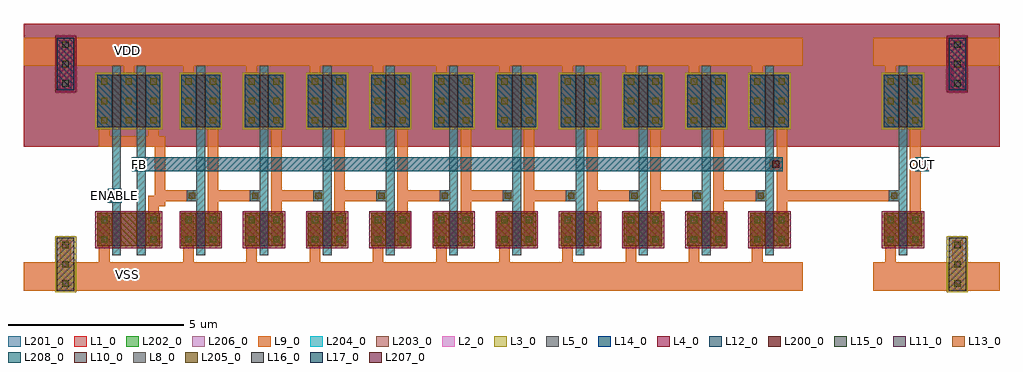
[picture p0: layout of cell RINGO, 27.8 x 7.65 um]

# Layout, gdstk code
import gdstk
lib = gdstk.Library(unit=1e-6, precision=1e-09)
def R(c, l, rs):  # rectangles x0, y0, x1, y1
    for r in rs: c.add(gdstk.rectangle(r[:2], r[2:], *l))
def A(c, l, x, y, w, h, nx, ny, dx, dy):  # array of equal rectangles
    R(c, l, [(x+i*dx, y+j*dy, x+i*dx+w, y+j*dy+h) for i in range(nx) for j in range(ny)])
def P(c, l, *ps):  # polygons
    for p in ps: c.add(gdstk.Polygon(p, *l))
L1_0 = (1, 0)
L2_0 = (2, 0)
L3_0 = (3, 0)
L4_0 = (4, 0)
L5_0 = (5, 0)
L8_0 = (8, 0)
L9_0 = (9, 0)
L10_0 = (10, 0)
L11_0 = (11, 0)
L12_0 = (12, 0)
L13_0 = (13, 0)
L14_0 = (14, 0)
L15_0 = (15, 0)
L16_0 = (16, 0)
L17_0 = (17, 0)
L200_0 = (200, 0)
L201_0 = (201, 0)
L202_0 = (202, 0)
L203_0 = (203, 0)
L204_0 = (204, 0)
L205_0 = (205, 0)
L206_0 = (206, 0)
L207_0 = (207, 0)
L208_0 = (208, 0)

d_pmos = lib.new_cell('D$PMOS')
R(d_pmos, L201_0, [(-0.125,-0.75,0.125,0.75)])
R(d_pmos, L202_0, [(-0.55,-0.75,-0.125,0.75), (0.125,-0.75,0.575,0.75)])
R(d_pmos, L204_0, [(-0.125,-0.75,0.125,0.75)])

d_pmos_1 = lib.new_cell('D$PMOS$1')
R(d_pmos_1, L201_0, [(-0.125,-0.75,0.125,0.75)])
R(d_pmos_1, L202_0, [(-0.575,-0.75,-0.125,0.75), (0.125,-0.75,0.55,0.75)])
R(d_pmos_1, L204_0, [(-0.125,-0.75,0.125,0.75)])

net_nd2x1_nwell = lib.new_cell('NET_ND2X1_NWELL')
R(net_nd2x1_nwell, L201_0, [(-0.1,4.5,2.5,8), (0.999,5.999,1.001,6.001)])
net_nd2x1_nwell.add(gdstk.Reference(d_pmos, (0.85,5.8)))
net_nd2x1_nwell.add(gdstk.Reference(d_pmos_1, (1.55,5.8)))

d_nmos_1 = lib.new_cell('D$NMOS$1')
R(d_nmos_1, L200_0, [(-0.125,-0.475,0.125,0.475)])
R(d_nmos_1, L203_0, [(-0.575,-0.475,-0.125,0.475), (0.125,-0.475,0.55,0.475)])
R(d_nmos_1, L204_0, [(-0.125,-0.475,0.125,0.475)])

net_nd2x1__2 = lib.new_cell('NET_ND2X1_$2')
R(net_nd2x1__2, L204_0, [(1.425,1.41,1.675,2.86), (1.425,2.86,1.675,4.8), (1.33,3.85,1.63,4.15), (1.425,4.8,1.675,6.8), (1.425,4.8,1.675,6.8)])
net_nd2x1__2.add(gdstk.Reference(d_pmos_1, (1.55,5.8)))
net_nd2x1__2.add(gdstk.Reference(d_nmos_1, (1.55,2.135)))

net_nd2x1_b = lib.new_cell('NET_ND2X1_B')
R(net_nd2x1_b, L205_0, [(1.39,3.91,1.57,4.09)])
R(net_nd2x1_b, L206_0, [(1.33,3.85,1.63,4.15), (1.499,3.999,1.501,4.001)])

d_nmos = lib.new_cell('D$NMOS')
R(d_nmos, L200_0, [(-0.125,-0.475,0.125,0.475)])
R(d_nmos, L203_0, [(-0.55,-0.475,-0.125,0.475), (0.125,-0.475,0.575,0.475)])
R(d_nmos, L204_0, [(-0.125,-0.475,0.125,0.475)])

net_nd2x1__4 = lib.new_cell('NET_ND2X1_$4')
R(net_nd2x1__4, L204_0, [(0.725,1.41,0.975,2.86), (0.725,2.86,0.975,4.8), (0.65,2.95,0.95,3.25), (0.725,4.8,0.975,6.8), (0.725,4.8,0.975,6.8)])
net_nd2x1__4.add(gdstk.Reference(d_pmos, (0.85,5.8)))
net_nd2x1__4.add(gdstk.Reference(d_nmos, (0.85,2.135)))

net_nd2x1_a = lib.new_cell('NET_ND2X1_A')
R(net_nd2x1_a, L205_0, [(0.71,3.01,0.89,3.19)])
R(net_nd2x1_a, L206_0, [(0.65,2.95,0.95,3.25), (0.799,3.099,0.801,3.101)])

net_nd2x1__6 = lib.new_cell('NET_ND2X1_$6')
R(net_nd2x1__6, L202_0, [(1.675,5.05,2.1,6.55)])
net_nd2x1__6.add(gdstk.Reference(d_pmos_1, (1.55,5.8)))

net_nd2x1__7 = lib.new_cell('NET_ND2X1_$7')
R(net_nd2x1__7, L202_0, [(0.3,5.05,0.725,6.55)])
net_nd2x1__7.add(gdstk.Reference(d_pmos, (0.85,5.8)))

net_nd2x1_vdd = lib.new_cell('NET_ND2X1_VDD')
A(net_nd2x1_vdd, L205_0, 1.11, 5.16, 0.18, 0.18, 1, 3, 0, 0.55)
R(net_nd2x1_vdd, L206_0, [(1.05,5.1,1.35,6.8), (0,6.8,2.4,7.6), (1.249,7.199,1.251,7.201)])

net_nd2x1__9 = lib.new_cell('NET_ND2X1_$9')
R(net_nd2x1__9, L202_0, [(0.975,5.05,1.425,6.55)])
net_nd2x1__9.add(gdstk.Reference(d_pmos, (0.85,5.8)))
net_nd2x1__9.add(gdstk.Reference(d_pmos_1, (1.55,5.8)))

net_nd2x1_out = lib.new_cell('NET_ND2X1_OUT')
A(net_nd2x1_out, L205_0, 0.41, 5.16, 0.18, 0.18, 1, 3, 0, 0.55)
A(net_nd2x1_out, L205_0, 1.81, 5.16, 0.18, 0.18, 1, 3, 0, 0.55)
R(net_nd2x1_out, L205_0, [(1.81,1.77,1.99,1.95), (1.81,2.32,1.99,2.5)])
R(net_nd2x1_out, L206_0, [(1.94,3.1,2.24,4.5), (2.099,3.999,2.101,4.001), (1.75,4.8,2.05,5.1), (0.35,5.1,0.65,6.5), (1.75,5.1,2.05,6.5)])
P(net_nd2x1_out, L206_0, [(1.75,1.71),(1.75,3.1),(2.24,3.1),(2.24,2.8),(2.05,2.8),(2.05,1.71)],
  [(0.35,4.5),(0.35,5.1),(0.65,5.1),(0.65,4.8),(2.24,4.8),(2.24,4.5)])

net_nd2x1__11 = lib.new_cell('NET_ND2X1_$11')
R(net_nd2x1__11, L203_0, [(1.675,1.66,2.1,2.61)])
net_nd2x1__11.add(gdstk.Reference(d_nmos_1, (1.55,2.135)))

net_nd2x1_vss = lib.new_cell('NET_ND2X1_VSS')
R(net_nd2x1_vss, L205_0, [(0.41,1.77,0.59,1.95), (0.41,2.32,0.59,2.5)])
R(net_nd2x1_vss, L206_0, [(0,0.4,2.4,1.2), (1.249,0.799,1.251,0.801), (0.35,1.2,0.65,2.56)])

net_nd2x1__13 = lib.new_cell('NET_ND2X1_$13')
R(net_nd2x1__13, L203_0, [(0.3,1.66,0.725,2.61)])
net_nd2x1__13.add(gdstk.Reference(d_nmos, (0.85,2.135)))

net_nd2x1__14 = lib.new_cell('NET_ND2X1_$14')
R(net_nd2x1__14, L203_0, [(0.975,1.66,1.425,2.61)])
net_nd2x1__14.add(gdstk.Reference(d_nmos, (0.85,2.135)))
net_nd2x1__14.add(gdstk.Reference(d_nmos_1, (1.55,2.135)))

net_nd2x1_bulk = lib.new_cell('NET_ND2X1_BULK')
net_nd2x1_bulk.add(gdstk.Reference(d_nmos, (0.85,2.135)))
net_nd2x1_bulk.add(gdstk.Reference(d_nmos_1, (1.55,2.135)))

nd2x1 = lib.new_cell('ND2X1')
R(nd2x1, L1_0, [(-0.1,4.5,2.5,8)])
R(nd2x1, L2_0, [(0.3,1.66,1.4,2.61), (1,1.66,2.1,2.61), (0.3,5.05,1.4,6.55), (0.3,5.05,1.4,6.55), (1,5.05,2.1,6.55), (1,5.05,2.1,6.55)])
R(nd2x1, L3_0, [(0.25,5,1.45,6.6), (0.95,5,2.15,6.6)])
R(nd2x1, L4_0, [(0.25,1.61,1.45,2.66), (0.95,1.61,2.15,2.66)])
R(nd2x1, L5_0, [(0.725,1.41,0.975,2.86), (1.425,1.41,1.675,2.86), (0.725,2.86,0.975,4.8), (1.425,2.86,1.675,4.8), (0.65,2.95,0.95,3.25), (1.33,3.85,1.63,4.15), (0.725,4.8,0.975,6.8), (0.725,4.8,0.975,6.8), (1.425,4.8,1.675,6.8), (1.425,4.8,1.675,6.8)])
A(nd2x1, L8_0, 0.41, 5.16, 0.18, 0.18, 3, 3, 0.7, 0.55)
R(nd2x1, L8_0, [(0.41,1.77,0.59,1.95), (1.81,1.77,1.99,1.95), (0.41,2.32,0.59,2.5), (1.81,2.32,1.99,2.5), (0.71,3.01,0.89,3.19), (1.39,3.91,1.57,4.09)])
R(nd2x1, L9_0, [(0,0.4,2.4,1.2), (0.35,1.2,0.65,2.56), (0.65,2.95,0.95,3.25), (1.33,3.85,1.63,4.15), (1.75,4.8,2.05,5.1), (0.35,5.1,0.65,6.5), (1.05,5.1,1.35,6.8), (1.75,5.1,2.05,6.5), (0,6.8,2.4,7.6)])
R(nd2x1, L10_0, [(0.725,5.05,0.975,6.55), (1.425,5.05,1.675,6.55)])
R(nd2x1, L11_0, [(0.725,1.66,0.975,2.61), (1.425,1.66,1.675,2.61)])
R(nd2x1, L12_0, [(0.3,5.05,0.725,6.55), (0.975,5.05,1.425,6.55), (1.675,5.05,2.1,6.55)])
R(nd2x1, L13_0, [(0.3,1.66,0.725,2.61), (0.975,1.66,1.425,2.61), (1.675,1.66,2.1,2.61)])
R(nd2x1, L14_0, [(0.3,5.05,2.1,6.55)])
R(nd2x1, L15_0, [(0.3,1.66,1.4,2.61), (1,1.66,2.1,2.61)])
nd2x1.add(gdstk.FlexPath([(1.9,1.71),(1.9,2.95),(2.09,2.95),(2.09,4.65),(0.5,4.65),(0.5,5.1)], 0.3, ends="flush", simple_path=True, layer=9, datatype=0))  # L9_0
nd2x1.add(gdstk.Reference(net_nd2x1_nwell, (0,0)))
nd2x1.add(gdstk.Reference(net_nd2x1__2, (0,0)))
nd2x1.add(gdstk.Reference(net_nd2x1_b, (0,0)))
nd2x1.add(gdstk.Reference(net_nd2x1__4, (0,0)))
nd2x1.add(gdstk.Reference(net_nd2x1_a, (0,0)))
nd2x1.add(gdstk.Reference(net_nd2x1__6, (0,0)))
nd2x1.add(gdstk.Reference(net_nd2x1__7, (0,0)))
nd2x1.add(gdstk.Reference(net_nd2x1_vdd, (0,0)))
nd2x1.add(gdstk.Reference(net_nd2x1__9, (0,0)))
nd2x1.add(gdstk.Reference(net_nd2x1_out, (0,0)))
nd2x1.add(gdstk.Reference(net_nd2x1__11, (0,0)))
nd2x1.add(gdstk.Reference(net_nd2x1_vss, (0,0)))
nd2x1.add(gdstk.Reference(net_nd2x1__13, (0,0)))
nd2x1.add(gdstk.Reference(net_nd2x1__14, (0,0)))
nd2x1.add(gdstk.Reference(net_nd2x1_bulk, (0,0)))
nd2x1.add(gdstk.Reference(d_pmos, (0.85,5.8)))
nd2x1.add(gdstk.Reference(d_pmos_1, (1.55,5.8)))
nd2x1.add(gdstk.Reference(d_nmos, (0.85,2.135)))
nd2x1.add(gdstk.Reference(d_nmos_1, (1.55,2.135)))
nd2x1.add(gdstk.Label('NWELL', (1,6), layer=1, texttype=0))
nd2x1.add(gdstk.Label('VDD', (1.25,7.2), layer=9, texttype=0))
nd2x1.add(gdstk.Label('VSS', (1.25,0.8), layer=9, texttype=0))
nd2x1.add(gdstk.Label('OUT', (2.1,4), layer=9, texttype=0))
nd2x1.add(gdstk.Label('A', (0.8,3.1), layer=9, texttype=0))
nd2x1.add(gdstk.Label('B', (1.5,4), layer=9, texttype=0))

net_tie_nwell = lib.new_cell('NET_TIE_NWELL')
R(net_tie_nwell, L201_0, [(-0.1,4.5,1.3,8), (0.399,6.199,0.401,6.201)])

net_tie__2 = lib.new_cell('NET_TIE_$2')

net_tie__3 = lib.new_cell('NET_TIE_$3')

net_tie_vss = lib.new_cell('NET_TIE_VSS')
A(net_tie_vss, L205_0, 0.51, 0.51, 0.18, 0.18, 1, 3, 0, 0.55)
R(net_tie_vss, L206_0, [(0,0.4,1.2,1.2), (0.45,0.45,0.75,1.85), (0.649,0.799,0.651,0.801)])

net_tie_vdd = lib.new_cell('NET_TIE_VDD')
A(net_tie_vdd, L205_0, 0.51, 6.21, 0.18, 0.18, 1, 3, 0, 0.55)
R(net_tie_vdd, L206_0, [(0.45,6.15,0.75,7.55), (0,6.8,1.2,7.6), (0.649,7.199,0.651,7.201)])

net_tie_bulk = lib.new_cell('NET_TIE_BULK')

tie = lib.new_cell('TIE')
R(tie, L1_0, [(-0.1,4.5,1.3,8)])
R(tie, L2_0, [(0.35,0.4,0.85,1.9), (0.35,6.1,0.85,7.6)])
R(tie, L3_0, [(0.3,0.35,0.9,1.95)])
R(tie, L4_0, [(0.3,6.05,0.9,7.65)])
A(tie, L8_0, 0.51, 0.51, 0.18, 0.18, 1, 3, 0, 0.55)
A(tie, L8_0, 0.51, 6.21, 0.18, 0.18, 1, 3, 0, 0.55)
R(tie, L9_0, [(0,0.4,1.2,1.2), (0.45,0.45,0.75,1.85), (0.45,6.15,0.75,7.55), (0,6.8,1.2,7.6)])
R(tie, L16_0, [(0.35,0.4,0.85,1.9)])
R(tie, L17_0, [(0.35,6.1,0.85,7.6)])
tie.add(gdstk.Reference(net_tie_nwell, (0,0)))
tie.add(gdstk.Reference(net_tie__2, (0,0)))
tie.add(gdstk.Reference(net_tie__3, (0,0)))
tie.add(gdstk.Reference(net_tie_vss, (0,0)))
tie.add(gdstk.Reference(net_tie_vdd, (0,0)))
tie.add(gdstk.Reference(net_tie_bulk, (0,0)))
tie.add(gdstk.Label('NWELL', (0.4,6.2), layer=1, texttype=0))
tie.add(gdstk.Label('VDD', (0.65,7.2), layer=9, texttype=0))
tie.add(gdstk.Label('VSS', (0.65,0.8), layer=9, texttype=0))

net_empty__1 = lib.new_cell('NET_EMPTY_$1')
R(net_empty__1, L201_0, [(0,4.5,0.6,8)])

net_empty__2 = lib.new_cell('NET_EMPTY_$2')
R(net_empty__2, L206_0, [(0,0.4,0.6,1.2)])

net_empty__3 = lib.new_cell('NET_EMPTY_$3')
R(net_empty__3, L206_0, [(0,6.8,0.6,7.6)])

empty = lib.new_cell('EMPTY')
R(empty, L1_0, [(0,4.5,0.6,8)])
R(empty, L9_0, [(0,0.4,0.6,1.2), (0,6.8,0.6,7.6)])
empty.add(gdstk.Reference(net_empty__1, (0,0)))
empty.add(gdstk.Reference(net_empty__2, (0,0)))
empty.add(gdstk.Reference(net_empty__3, (0,0)))

d_pmos_2 = lib.new_cell('D$PMOS$2')
R(d_pmos_2, L201_0, [(-0.125,-0.75,0.125,0.75)])
R(d_pmos_2, L202_0, [(-0.55,-0.75,-0.125,0.75), (0.125,-0.75,0.55,0.75)])
R(d_pmos_2, L204_0, [(-0.125,-0.75,0.125,0.75)])

net_invx1_nwell = lib.new_cell('NET_INVX1_NWELL')
R(net_invx1_nwell, L201_0, [(-0.1,4.5,1.9,8), (0.799,5.999,0.801,6.001)])
net_invx1_nwell.add(gdstk.Reference(d_pmos_2, (0.85,5.8)))

d_nmos_2 = lib.new_cell('D$NMOS$2')
R(d_nmos_2, L200_0, [(-0.125,-0.475,0.125,0.475)])
R(d_nmos_2, L203_0, [(-0.55,-0.475,-0.125,0.475), (0.125,-0.475,0.55,0.475)])
R(d_nmos_2, L204_0, [(-0.125,-0.475,0.125,0.475)])

net_invx1__2 = lib.new_cell('NET_INVX1_$2')
R(net_invx1__2, L204_0, [(0.725,1.41,0.975,2.86), (0.725,2.86,0.975,4.8), (0.45,2.95,0.75,3.25), (0.725,4.8,0.975,6.8), (0.725,4.8,0.975,6.8)])
net_invx1__2.add(gdstk.Reference(d_pmos_2, (0.85,5.8)))
net_invx1__2.add(gdstk.Reference(d_nmos_2, (0.85,2.135)))

net_invx1_in = lib.new_cell('NET_INVX1_IN')
R(net_invx1_in, L205_0, [(0.51,3.01,0.69,3.19)])
R(net_invx1_in, L206_0, [(0.45,2.95,0.75,3.25), (0.599,3.099,0.601,3.101)])

net_invx1_vdd = lib.new_cell('NET_INVX1_VDD')
A(net_invx1_vdd, L205_0, 0.41, 5.16, 0.18, 0.18, 1, 3, 0, 0.55)
R(net_invx1_vdd, L206_0, [(0.35,5.1,0.65,6.5), (0.35,6.5,0.65,6.8), (0,6.8,1.8,7.6), (0.949,7.199,0.951,7.201)])

net_invx1__5 = lib.new_cell('NET_INVX1_$5')
R(net_invx1__5, L202_0, [(0.3,5.05,0.725,6.55)])
net_invx1__5.add(gdstk.Reference(d_pmos_2, (0.85,5.8)))

net_invx1_out = lib.new_cell('NET_INVX1_OUT')
A(net_invx1_out, L205_0, 1.11, 5.16, 0.18, 0.18, 1, 3, 0, 0.55)
R(net_invx1_out, L205_0, [(1.11,1.77,1.29,1.95), (1.11,2.32,1.29,2.5)])
R(net_invx1_out, L206_0, [(1.05,1.71,1.35,6.5), (1.199,3.999,1.201,4.001)])

net_invx1__7 = lib.new_cell('NET_INVX1_$7')
R(net_invx1__7, L202_0, [(0.975,5.05,1.4,6.55)])
net_invx1__7.add(gdstk.Reference(d_pmos_2, (0.85,5.8)))

net_invx1__8 = lib.new_cell('NET_INVX1_$8')
R(net_invx1__8, L203_0, [(0.975,1.66,1.4,2.61)])
net_invx1__8.add(gdstk.Reference(d_nmos_2, (0.85,2.135)))

net_invx1_vss = lib.new_cell('NET_INVX1_VSS')
R(net_invx1_vss, L205_0, [(0.41,1.77,0.59,1.95), (0.41,2.32,0.59,2.5)])
R(net_invx1_vss, L206_0, [(0,0.4,1.8,1.2), (0.949,0.799,0.951,0.801), (0.35,1.2,0.65,2.56)])

net_invx1__10 = lib.new_cell('NET_INVX1_$10')
R(net_invx1__10, L203_0, [(0.3,1.66,0.725,2.61)])
net_invx1__10.add(gdstk.Reference(d_nmos_2, (0.85,2.135)))

net_invx1_bulk = lib.new_cell('NET_INVX1_BULK')
net_invx1_bulk.add(gdstk.Reference(d_nmos_2, (0.85,2.135)))

invx1 = lib.new_cell('INVX1')
R(invx1, L1_0, [(-0.1,4.5,1.9,8)])
R(invx1, L2_0, [(0.3,1.66,1.4,2.61), (0.3,5.05,1.4,6.55), (0.3,5.05,1.4,6.55)])
R(invx1, L3_0, [(0.25,5,1.45,6.6)])
R(invx1, L4_0, [(0.25,1.61,1.45,2.66)])
R(invx1, L5_0, [(0.725,1.41,0.975,2.86), (0.725,2.86,0.975,4.8), (0.45,2.95,0.75,3.25), (0.725,4.8,0.975,6.8), (0.725,4.8,0.975,6.8)])
A(invx1, L8_0, 0.41, 5.16, 0.18, 0.18, 1, 3, 0, 0.55)
A(invx1, L8_0, 1.11, 5.16, 0.18, 0.18, 1, 3, 0, 0.55)
R(invx1, L8_0, [(0.41,1.77,0.59,1.95), (1.11,1.77,1.29,1.95), (0.41,2.32,0.59,2.5), (1.11,2.32,1.29,2.5), (0.51,3.01,0.69,3.19)])
R(invx1, L9_0, [(0,0.4,1.8,1.2), (0.35,1.2,0.65,2.56), (1.05,1.71,1.35,6.5), (0.45,2.95,0.75,3.25), (0.35,5.1,0.65,6.5), (0.35,6.5,0.65,6.8), (0,6.8,1.8,7.6)])
R(invx1, L10_0, [(0.725,5.05,0.975,6.55)])
R(invx1, L11_0, [(0.725,1.66,0.975,2.61)])
R(invx1, L12_0, [(0.3,5.05,0.725,6.55), (0.975,5.05,1.4,6.55)])
R(invx1, L13_0, [(0.3,1.66,0.725,2.61), (0.975,1.66,1.4,2.61)])
R(invx1, L14_0, [(0.3,5.05,1.4,6.55)])
R(invx1, L15_0, [(0.3,1.66,1.4,2.61)])
invx1.add(gdstk.Reference(net_invx1_nwell, (0,0)))
invx1.add(gdstk.Reference(net_invx1__2, (0,0)))
invx1.add(gdstk.Reference(net_invx1_in, (0,0)))
invx1.add(gdstk.Reference(net_invx1_vdd, (0,0)))
invx1.add(gdstk.Reference(net_invx1__5, (0,0)))
invx1.add(gdstk.Reference(net_invx1_out, (0,0)))
invx1.add(gdstk.Reference(net_invx1__7, (0,0)))
invx1.add(gdstk.Reference(net_invx1__8, (0,0)))
invx1.add(gdstk.Reference(net_invx1_vss, (0,0)))
invx1.add(gdstk.Reference(net_invx1__10, (0,0)))
invx1.add(gdstk.Reference(net_invx1_bulk, (0,0)))
invx1.add(gdstk.Reference(d_pmos_2, (0.85,5.8)))
invx1.add(gdstk.Reference(d_nmos_2, (0.85,2.135)))
invx1.add(gdstk.Label('NWELL', (0.8,6), layer=1, texttype=0))
invx1.add(gdstk.Label('VDD', (0.95,7.2), layer=9, texttype=0))
invx1.add(gdstk.Label('VSS', (0.95,0.8), layer=9, texttype=0))
invx1.add(gdstk.Label('IN', (0.6,3.1), layer=9, texttype=0))
invx1.add(gdstk.Label('OUT', (1.2,4), layer=9, texttype=0))

net_ringo_fb = lib.new_cell('NET_RINGO_FB')
R(net_ringo_fb, L206_0, [(21.75,2.95,24.65,3.25), (3.12,3.84,3.44,4.16), (21.26,3.84,21.58,4.16)])
R(net_ringo_fb, L207_0, [(3.18,3.9,3.38,4.1), (21.32,3.9,21.52,4.1)])
R(net_ringo_fb, L208_0, [(3.08,3.8,3.48,4.2), (3.48,3.8,21.22,4.2), (21.22,3.8,21.62,4.2), (3.299,3.999,3.301,4.001)])

net_ringo_enable = lib.new_cell('NET_RINGO_ENABLE')
R(net_ringo_enable, L206_0, [(2.44,2.94,2.76,3.26)])
R(net_ringo_enable, L207_0, [(2.5,3,2.7,3.2)])
R(net_ringo_enable, L208_0, [(2.4,2.9,2.8,3.3), (2.599,3.099,2.601,3.101)])

net_ringo_out = lib.new_cell('NET_RINGO_OUT')
R(net_ringo_out, L206_0, [(25.44,3.84,25.76,4.16)])
R(net_ringo_out, L207_0, [(25.5,3.9,25.7,4.1)])
R(net_ringo_out, L208_0, [(25.4,3.8,25.8,4.2), (25.599,3.999,25.601,4.001)])

net_ringo__4 = lib.new_cell('NET_RINGO_$4')
R(net_ringo__4, L201_0, [(22.2,4.5,24.2,8)])

net_ringo__5 = lib.new_cell('NET_RINGO_$5')
R(net_ringo__5, L206_0, [(4.04,2.95,4.65,3.25)])

net_ringo__6 = lib.new_cell('NET_RINGO_$6')
R(net_ringo__6, L206_0, [(5.55,2.95,6.45,3.25)])

net_ringo__7 = lib.new_cell('NET_RINGO_$7')
R(net_ringo__7, L206_0, [(7.35,2.95,8.25,3.25)])

net_ringo__8 = lib.new_cell('NET_RINGO_$8')
R(net_ringo__8, L206_0, [(9.15,2.95,10.05,3.25)])

net_ringo__9 = lib.new_cell('NET_RINGO_$9')
R(net_ringo__9, L206_0, [(10.95,2.95,11.85,3.25)])

net_ringo__10 = lib.new_cell('NET_RINGO_$10')
R(net_ringo__10, L206_0, [(12.75,2.95,13.65,3.25)])

net_ringo__11 = lib.new_cell('NET_RINGO_$11')
R(net_ringo__11, L206_0, [(14.55,2.95,15.45,3.25)])

net_ringo__12 = lib.new_cell('NET_RINGO_$12')
R(net_ringo__12, L206_0, [(16.35,2.95,17.25,3.25)])

net_ringo__14 = lib.new_cell('NET_RINGO_$14')
R(net_ringo__14, L206_0, [(19.95,2.95,20.85,3.25)])

net_ringo__15 = lib.new_cell('NET_RINGO_$15')
R(net_ringo__15, L206_0, [(18.15,2.95,19.05,3.25)])

net_ringo_vdd = lib.new_cell('NET_RINGO_VDD')
R(net_ringo_vdd, L206_0, [(2.949,7.249,2.951,7.251)])

net_ringo_vss = lib.new_cell('NET_RINGO_VSS')
R(net_ringo_vss, L206_0, [(2.949,0.849,2.951,0.851)])

ringo = lib.new_cell('RINGO')
R(ringo, L1_0, [(22.2,4.5,24.2,8)])
A(ringo, L9_0, 5.55, 2.95, 0.9, 0.3, 9, 1, 1.8, 0)
R(ringo, L9_0, [(2.44,2.94,2.76,3.26), (4.04,2.95,4.65,3.25), (21.75,2.95,24.65,3.25), (3.12,3.84,3.44,4.16), (21.26,3.84,21.58,4.16), (25.44,3.84,25.76,4.16)])
R(ringo, L10_0, [(2.5,3,2.7,3.2), (3.18,3.9,3.38,4.1), (21.32,3.9,21.52,4.1), (25.5,3.9,25.7,4.1)])
R(ringo, L11_0, [(2.4,2.9,2.8,3.3), (3.08,3.8,3.48,4.2), (21.22,3.8,21.62,4.2), (25.4,3.8,25.8,4.2)])
ringo.add(gdstk.FlexPath([(3.48,4),(21.22,4)], 0.4, ends="flush", simple_path=True, layer=11, datatype=0))  # L11_0
ringo.add(gdstk.Reference(nd2x1, (1.8,0)))
ringo.add(gdstk.Reference(tie, (0.6,0)))
ringo.add(gdstk.Reference(empty, (0,0)))
ringo.add(gdstk.Reference(invx1, (24.2,0)))
ringo.add(gdstk.Reference(empty, (27.2,0)))
ringo.add(gdstk.Reference(tie, (26,0)))
r = gdstk.Reference(invx1, (4.2,0)); r.repetition = gdstk.Repetition(10, 1, v1=(1.8,0), v2=(0,0)); ringo.add(r)
ringo.add(gdstk.Reference(net_ringo_fb, (0,0)))
ringo.add(gdstk.Reference(net_ringo_enable, (0,0)))
ringo.add(gdstk.Reference(net_ringo_out, (0,0)))
ringo.add(gdstk.Reference(net_ringo__4, (0,0)))
ringo.add(gdstk.Reference(net_ringo__5, (0,0)))
ringo.add(gdstk.Reference(net_ringo__6, (0,0)))
ringo.add(gdstk.Reference(net_ringo__7, (0,0)))
ringo.add(gdstk.Reference(net_ringo__8, (0,0)))
ringo.add(gdstk.Reference(net_ringo__9, (0,0)))
ringo.add(gdstk.Reference(net_ringo__10, (0,0)))
ringo.add(gdstk.Reference(net_ringo__11, (0,0)))
ringo.add(gdstk.Reference(net_ringo__12, (0,0)))
ringo.add(gdstk.Reference(net_ringo__14, (0,0)))
ringo.add(gdstk.Reference(net_ringo__15, (0,0)))
ringo.add(gdstk.Reference(net_ringo_vdd, (0,0)))
ringo.add(gdstk.Reference(net_ringo_vss, (0,0)))
ringo.add(gdstk.Label('VDD', (2.95,7.25), layer=9, texttype=0))
ringo.add(gdstk.Label('VSS', (2.95,0.85), layer=9, texttype=0))
ringo.add(gdstk.Label('OUT', (25.6,4), layer=11, texttype=0))
ringo.add(gdstk.Label('ENABLE', (2.6,3.1), layer=11, texttype=0))
ringo.add(gdstk.Label('FB', (3.3,4), layer=11, texttype=0))

lib.write_gds('RINGO.gds')
